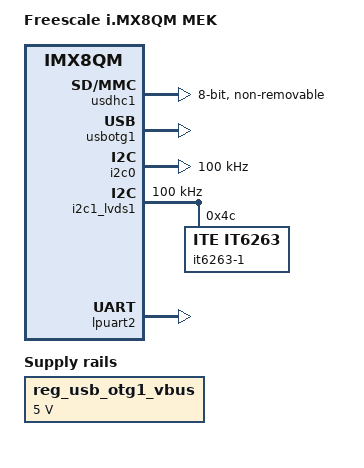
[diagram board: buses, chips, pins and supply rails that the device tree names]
/*
 * Copyright 2017 NXP
 *
 * This program is free software; you can redistribute it and/or
 * modify it under the terms of the GNU General Public License
 * as published by the Free Software Foundation; either version 2
 * of the License, or (at your option) any later version.
 *
 * This program is distributed in the hope that it will be useful,
 * but WITHOUT ANY WARRANTY; without even the implied warranty of
 * MERCHANTABILITY or FITNESS FOR A PARTICULAR PURPOSE.  See the
 * GNU General Public License for more details.
 */

/dts-v1/;

#include "fsl-imx8qm-a72.dtsi"

/ {
	model = "Freescale i.MX8QM MEK";
	compatible = "fsl,imx8qm-mek", "fsl,imx8qm";

	chosen {
		bootargs = "console=ttyLP2,115200 earlycon=lpuart32,0x5a080000,115200";
		stdout-path = &lpuart2;
	};

	regulators {
		compatible = "simple-bus";
		#address-cells = <1>;
		#size-cells = <0>;

		reg_usb_otg1_vbus: regulator@0 {
			compatible = "regulator-fixed";
			reg = <0>;
			regulator-name = "usb_otg1_vbus";
			regulator-min-microvolt = <5000000>;
			regulator-max-microvolt = <5000000>;
/*			gpio = <&gpio4 3 GPIO_ACTIVE_HIGH>; */
			enable-active-high;
			status = "okay";
		};

	};
};

&iomuxc {
	pinctrl-names = "default";

	imx8qm-mek {
		pinctrl_hog_1: hoggrp-1 {
			fsl,pins = <
				SC_P_USB_SS3_TC0_CONN_USB_OTG1_PWR		0x06000021
			>;
		};

		pinctrl_fec2: fec2grp {
			fsl,pins = <
				SC_P_COMP_CTL_GPIO_1V8_3V3_ENET_ENETA_PAD	0x000014a0
				SC_P_ENET1_RGMII_TX_CTL_CONN_ENET1_RGMII_TX_CTL	0x00000060
				SC_P_ENET1_RGMII_TXC_CONN_ENET1_RGMII_TXC	0x00000060
				SC_P_ENET1_RGMII_TXD0_CONN_ENET1_RGMII_TXD0	0x00000060
				SC_P_ENET1_RGMII_TXD1_CONN_ENET1_RGMII_TXD1	0x00000060
				SC_P_ENET1_RGMII_TXD2_CONN_ENET1_RGMII_TXD2	0x00000060
				SC_P_ENET1_RGMII_TXD3_CONN_ENET1_RGMII_TXD3	0x00000060
				SC_P_ENET1_RGMII_RXC_CONN_ENET1_RGMII_RXC	0x00000060
				SC_P_ENET1_RGMII_RX_CTL_CONN_ENET1_RGMII_RX_CTL	0x00000060
				SC_P_ENET1_RGMII_RXD0_CONN_ENET1_RGMII_RXD0	0x00000060
				SC_P_ENET1_RGMII_RXD1_CONN_ENET1_RGMII_RXD1	0x00000060
				SC_P_ENET1_RGMII_RXD2_CONN_ENET1_RGMII_RXD2	0x00000060
				SC_P_ENET1_RGMII_RXD3_CONN_ENET1_RGMII_RXD3	0x00000060
			>;
		};

		pinctrl_lvds0_lpi2c1: lvds0lpi2c1grp {
			fsl,pins = <
				SC_P_LVDS0_I2C1_SCL_LVDS0_I2C1_SCL	0xc600004c
				SC_P_LVDS0_I2C1_SDA_LVDS0_I2C1_SDA	0xc600004c
			>;
		};

		pinctrl_lvds1_lpi2c1: lvds1lpi2c1grp {
			fsl,pins = <
				SC_P_LVDS1_I2C1_SCL_LVDS1_I2C1_SCL	0xc600004c
				SC_P_LVDS1_I2C1_SDA_LVDS1_I2C1_SDA	0xc600004c
			>;
		};

		pinctrl_lpuart2: lpuart2grp {
			fsl,pins = <
				SC_P_UART0_RTS_B_DMA_UART2_RX		0x06000020
				SC_P_UART0_CTS_B_DMA_UART2_TX		0x06000020
			>;
		};

		pinctrl_usdhc1: usdhc1grp {
			fsl,pins = <
				SC_P_EMMC0_CLK_CONN_EMMC0_CLK		0x06000041
				SC_P_EMMC0_CMD_CONN_EMMC0_CMD		0x00000021
				SC_P_EMMC0_DATA0_CONN_EMMC0_DATA0	0x00000021
				SC_P_EMMC0_DATA1_CONN_EMMC0_DATA1	0x00000021
				SC_P_EMMC0_DATA2_CONN_EMMC0_DATA2	0x00000021
				SC_P_EMMC0_DATA3_CONN_EMMC0_DATA3	0x00000021
				SC_P_EMMC0_DATA4_CONN_EMMC0_DATA4	0x00000021
				SC_P_EMMC0_DATA5_CONN_EMMC0_DATA5	0x00000021
				SC_P_EMMC0_DATA6_CONN_EMMC0_DATA6	0x00000021
				SC_P_EMMC0_DATA7_CONN_EMMC0_DATA7	0x00000021
				SC_P_EMMC0_STROBE_CONN_EMMC0_STROBE	0x06000041
				SC_P_EMMC0_RESET_B_CONN_EMMC0_RESET_B	0x00000021
			>;
		};

		pinctrl_usdhc1_100mhz: usdhc1grp100mhz {
			fsl,pins = <
				SC_P_EMMC0_CLK_CONN_EMMC0_CLK		0x06000040
				SC_P_EMMC0_CMD_CONN_EMMC0_CMD		0x00000020
				SC_P_EMMC0_DATA0_CONN_EMMC0_DATA0	0x00000020
				SC_P_EMMC0_DATA1_CONN_EMMC0_DATA1	0x00000020
				SC_P_EMMC0_DATA2_CONN_EMMC0_DATA2	0x00000020
				SC_P_EMMC0_DATA3_CONN_EMMC0_DATA3	0x00000020
				SC_P_EMMC0_DATA4_CONN_EMMC0_DATA4	0x00000020
				SC_P_EMMC0_DATA5_CONN_EMMC0_DATA5	0x00000020
				SC_P_EMMC0_DATA6_CONN_EMMC0_DATA6	0x00000020
				SC_P_EMMC0_DATA7_CONN_EMMC0_DATA7	0x00000020
				SC_P_EMMC0_STROBE_CONN_EMMC0_STROBE	0x06000040
				SC_P_EMMC0_RESET_B_CONN_EMMC0_RESET_B	0x00000020
			>;
		};

		pinctrl_usdhc1_200mhz: usdhc1grp200mhz {
			fsl,pins = <
				SC_P_EMMC0_CLK_CONN_EMMC0_CLK		0x06000040
				SC_P_EMMC0_CMD_CONN_EMMC0_CMD		0x00000020
				SC_P_EMMC0_DATA0_CONN_EMMC0_DATA0	0x00000020
				SC_P_EMMC0_DATA1_CONN_EMMC0_DATA1	0x00000020
				SC_P_EMMC0_DATA2_CONN_EMMC0_DATA2	0x00000020
				SC_P_EMMC0_DATA3_CONN_EMMC0_DATA3	0x00000020
				SC_P_EMMC0_DATA4_CONN_EMMC0_DATA4	0x00000020
				SC_P_EMMC0_DATA5_CONN_EMMC0_DATA5	0x00000020
				SC_P_EMMC0_DATA6_CONN_EMMC0_DATA6	0x00000020
				SC_P_EMMC0_DATA7_CONN_EMMC0_DATA7	0x00000020
				SC_P_EMMC0_STROBE_CONN_EMMC0_STROBE	0x06000040
				SC_P_EMMC0_RESET_B_CONN_EMMC0_RESET_B	0x00000020
			>;
		};

		pinctrl_lpi2c0: lpi2c0grp {
			fsl,pins = <
				SC_P_HDMI_TX0_TS_SCL_DMA_I2C0_SCL		0x06000020
				SC_P_HDMI_TX0_TS_SDA_DMA_I2C0_SDA		0x06000020
			>;
		};
	};
};

&gpio0 {
	status = "okay";
};

&gpio1 {
};

&gpio2 {
};

&gpio3 {
	status = "okay";
};

&gpio4 {
};

&gpio5 {
};

&gpio6 {
	status = "okay";
};

&gpio7 {
	status = "okay";
};

&usdhc1 {
	pinctrl-names = "default", "state_100mhz", "state_200mhz";
	pinctrl-0 = <&pinctrl_usdhc1>;
	pinctrl-1 = <&pinctrl_usdhc1_100mhz>;
	pinctrl-2 = <&pinctrl_usdhc1_200mhz>;
	bus-width = <8>;
	non-removable;
	status = "okay";
};

&usbotg1 {
/*	vbus-supply = <&reg_usb_otg1_vbus>; */
	srp-disable;
	hnp-disable;
	adp-disable;
	disable-over-current;
	status = "okay";
};

&i2c0 {
	#address-cells = <1>;
	#size-cells = <0>;
	clock-frequency = <100000>;
	pinctrl-names = "default";
	pinctrl-0 = <&pinctrl_lpi2c0>;
	status = "okay";

};

&i2c1_lvds0 {
	#address-cells = <1>;
	#size-cells = <0>;
	pinctrl-names = "default";
	pinctrl-0 = <&pinctrl_lvds0_lpi2c1>;
	clock-frequency = <100000>;
	status = "okay";

	it6263-0@4c {
		compatible = "ITE,it6263";
		reg = <0x4c>;
	};
};

&i2c1_lvds1 {
	#address-cells = <1>;
	#size-cells = <0>;
	pinctrl-names = "default";
	pinctrl-0 = <&pinctrl_lvds1_lpi2c1>;
	clock-frequency = <100000>;
	status = "okay";

	it6263-1@4c {
		compatible = "ITE,it6263";
		reg = <0x4c>;
	};
};

&lpspi0 {
	#address-cells = <1>;
	#size-cells = <0>;
	pinctrl-names = "default";
	pinctrl-0 = <&pinctrl_lpspi0>;
	status = "okay";

	spidev0: spi@0 {
		reg = <0>;
		compatible = "rohm,dh2228fv";
		spi-max-frequency = <4000000>;
	};
};

&lpuart2 { /* console */
	pinctrl-names = "default";
	pinctrl-0 = <&pinctrl_lpuart2>;
	status = "okay";
};

/delete-node/ &mipi_csi_0;
/delete-node/ &mipi_csi_1;
/delete-node/ &dpu1;
/delete-node/ &fec1;
/delete-node/ &ldb1;
/delete-node/ &isi_0;
/delete-node/ &isi_1;
/delete-node/ &isi_2;
/delete-node/ &isi_3;
/delete-node/ &isi_4;
/delete-node/ &isi_5;
/delete-node/ &isi_6;
/delete-node/ &isi_7;
/delete-node/ &lpuart0;
/delete-node/ &lpuart1;
/delete-node/ &lpuart3;
/delete-node/ &lpuart4;
/delete-node/ &i2c2;
/delete-node/ &i2c3;
/delete-node/ &i2c4;
/delete-node/ &i2c1_lvds0;
/delete-node/ &usdhc2;
/delete-node/ &usdhc3;
/delete-node/ &usb2;
/delete-node/ &usb2_phy;
/delete-node/ &flexspi0;
/delete-node/ &dpu1_intsteer;
/delete-node/ &lvds_region1;
/delete-node/ &ldb1_phy;
/delete-node/ &irqsteer_hdmi;
/delete-node/ &i2c0_hdmi;
/delete-node/ &irqsteer_lvds0;
/delete-node/ &flexcan1;
/delete-node/ &flexcan2;
/delete-node/ &flexcan3;
/delete-node/ &irqsteer_csi0;
/delete-node/ &i2c0_mipi_csi0;
/delete-node/ &irqsteer_csi1;
/delete-node/ &i2c0_mipi_csi1;
/delete-node/ &irqsteer_dsi0;
/delete-node/ &i2c0_mipi_dsi0;
/delete-node/ &mipi0;
/delete-node/ &lpspi0;
/delete-node/ &gpt0;
/delete-node/ &gpu_3d0;
/delete-node/ &mlb;
/delete-node/ &spdif0;
/delete-node/ &pciea;
/delete-node/ &pcieb;
/delete-node/ &pinctrl_lvds0_lpi2c1;
